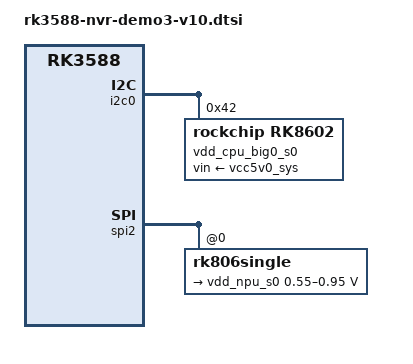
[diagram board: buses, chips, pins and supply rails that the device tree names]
// SPDX-License-Identifier: (GPL-2.0+ OR MIT)
/*
 * Copyright (c) 2021 Rockchip Electronics Co., Ltd.
 *
 */

#include "rk3588-nvr-demo1-v21.dtsi"

&dsi1 {
	status = "disabled";
};

&i2c0 {
	/delete-node/ rk8603@43;

	vdd_cpu_big0_s0: vdd_cpu_big0_mem_s0: vdd_cpu_big1_s0: vdd_cpu_big1_mem_s0: rk8602@42 {
		compatible = "rockchip,rk8602";
		reg = <0x42>;
		vin-supply = <&vcc5v0_sys>;
		regulator-compatible = "rk860x-reg";
		regulator-name = "vdd_cpu_big0_s0";
		regulator-min-microvolt = <550000>;
		regulator-max-microvolt = <1050000>;
		regulator-ramp-delay = <2300>;
		rockchip,suspend-voltage-selector = <1>;
		regulator-boot-on;
		regulator-always-on;
		regulator-state-mem {
			regulator-off-in-suspend;
		};
	};
};

&i2c2 {
	status = "disabled";
	/delete-node/ rk8602@42;
};

&spi2 {
	rk806single@0 {
		regulators {
			/delete-node/ DCDC_REG4;

			vdd_npu_s0: vdd_npu_mem_s0: DCDC_REG4 {
				regulator-always-on;
				regulator-boot-on;
				regulator-min-microvolt = <550000>;
				regulator-max-microvolt = <950000>;
				regulator-init-microvolt = <750000>;
				regulator-ramp-delay = <2500>;
				regulator-name = "vdd_npu_s0";
				regulator-state-mem {
					regulator-off-in-suspend;
				};
			};
		};
	};
};
